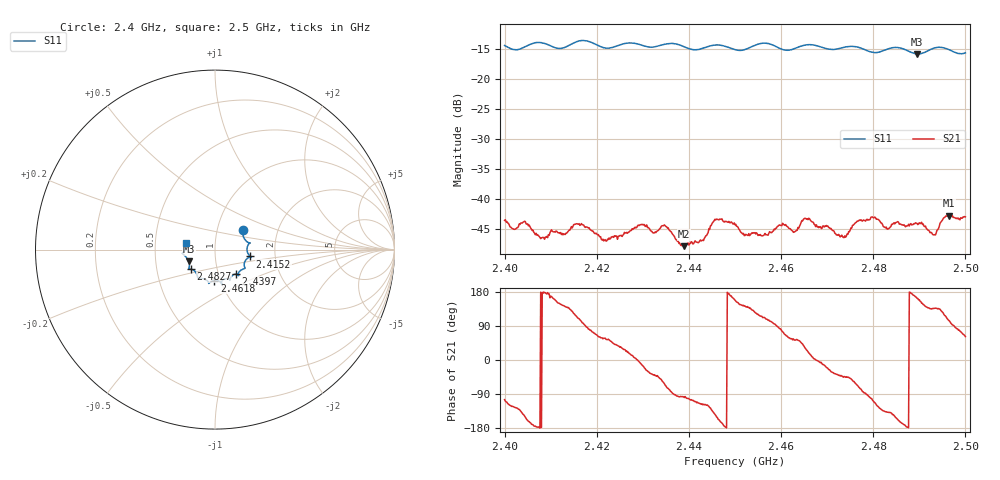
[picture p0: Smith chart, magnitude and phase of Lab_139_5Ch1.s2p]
# Hz S RI R 50
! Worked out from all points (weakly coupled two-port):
!   601 points, 2.4 GHz to 2.5 GHz, reference 50 ohm
!   highest |S21| = -42.71 dB at 2.4965 GHz (marker M1); lowest = -47.8 dB at 2.439 GHz (marker M2)
!   lowest |S11| = -15.9 dB at 2.4895 GHz (marker M3), VSWR 1.38, Z = 37 - j5.01 ohm
!   |S11| at or under -10 dB: start of sweep to end of sweep
!   S12 and S22 are empty: the file has one direction only
!   S11 on the Smith chart (normalised r, x): 2.4 GHz: 1.33, +0.30; 2.4152 GHz: 1.48, -0.12; 2.4397 GHz: 1.21, -0.34; 2.4618 GHz: 0.94, -0.33; 2.4827 GHz: 0.75, -0.17; 2.5 GHz: 0.72, +0.06
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2.4e9  0.1553 0.1072  -0.00168 -0.00646  0 0  0 0
2.408167e9  0.1942 0.0368  -0.0048 0.000142  0 0  0 0
2.415167e9  0.1955 -0.0381  -0.00321 0.00529  0 0  0 0
2.416667e9  0.2027 -0.0431  -0.00129 0.00614  0 0  0 0
2.421667e9  0.1695 -0.0609  0.00248 0.00385  0 0  0 0
2.433333e9  0.1299 -0.1343  0.00393 -0.00385  0 0  0 0
2.439e9  0.1224 -0.1372  -0.000647 -0.00402  0 0  0 0
2.439667e9  0.1167 -0.1363  -0.000858 -0.00421  0 0  0 0
2.443167e9  0.0875 -0.1564  -0.00204 -0.00405  0 0  0 0
2.445833e9  0.0839 -0.1708  -0.00561 -0.00371  0 0  0 0
2.45e9  0.0644 -0.162  -0.0057 0.00225  0 0  0 0
2.452333e9  0.0418 -0.1702  -0.00394 0.00325  0 0  0 0
2.461833e9  -0.00321 -0.1727  0.00298 0.00485  0 0  0 0
2.466667e9  -0.0347 -0.188  0.00643 0.00102  0 0  0 0
2.473167e9  -0.0821 -0.1603  0.0037 -0.0034  0 0  0 0
2.48e9  -0.1099 -0.1229  -0.00221 -0.00666  0 0  0 0
2.482667e9  -0.1351 -0.1088  -0.0042 -0.00396  0 0  0 0
2.483333e9  -0.1403 -0.1085  -0.00427 -0.0038  0 0  0 0
2.4895e9  -0.1461 -0.066  -0.00602 0.00183  0 0  0 0
2.493167e9  -0.1773 -0.0257  -0.00366 0.00347  0 0  0 0
2.4965e9  -0.1735 -0.0117  -0.0017 0.00712  0 0  0 0
2.5e9  -0.1591 0.039  0.00338 0.00628  0 0  0 0
